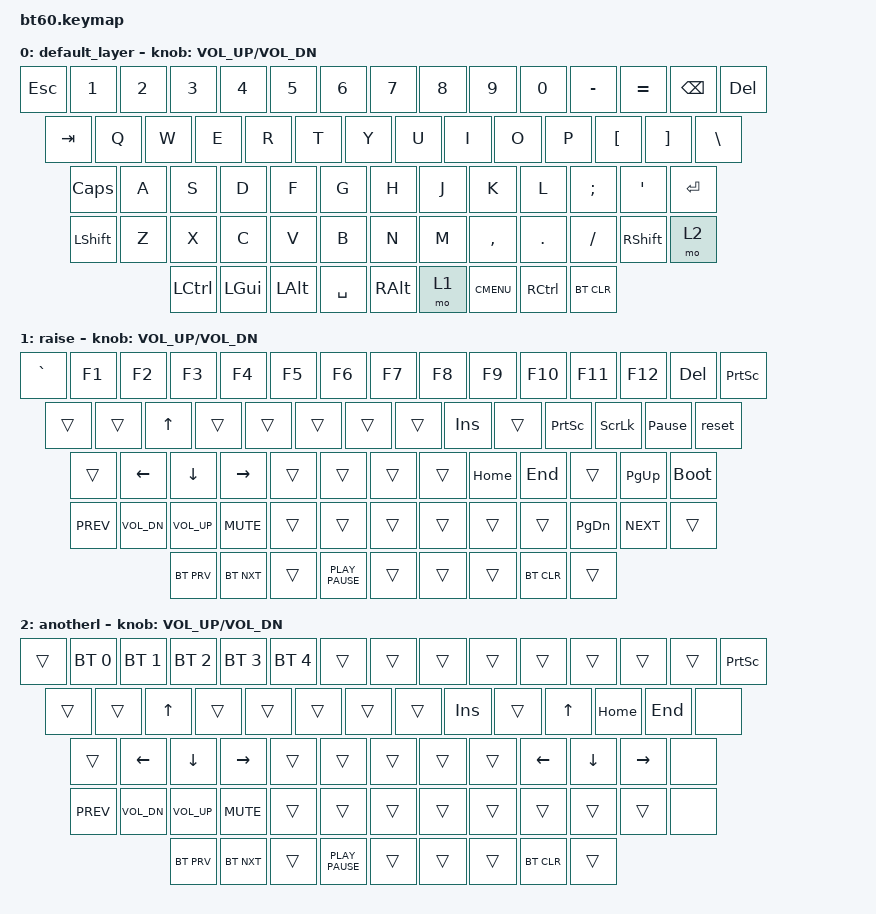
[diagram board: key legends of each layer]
#include <behaviors.dtsi>
#include <dt-bindings/zmk/keys.h>
#include <dt-bindings/zmk/bt.h>

/ {
	keymap {
		compatible = "zmk,keymap";

		default_layer {
				// ------------------------------------------------------------------------------------------
				// | ESC |  1  |  2  |  3  |  4  |  5  |  6  |  7  |  8  |  9  |  0  |  -  |  =  |   BKSP   |  PSCRN  |
				// | TAB  |  Q  |  W  |  E  |  R  |  T  |  Y  |  U  |  I  |  O  |  P  |  [  |  ]  |   |    |
				// | CAPS  |  A  |  S  |  D  |  F  |  G  |  H  |  J  |  K  |  L  |  ;  |  '  |     ENTER    |
				// |  SHIFT    |  Z  |  X  |  C  |  V  |  B  |  N  |  M  |  ,  |  .  | /   |      SHIFT     |   2  |
				// |  CTL  |  WIN  |  ALT  |            SPACE               | ALT | 1    |  MENU    |  CTRL    |
				// ------------------------------------------------------------------------------------------
			bindings = <
				&kp ESC &kp N1 &kp N2 &kp N3 &kp N4 &kp N5 &kp N6 &kp N7 &kp  N8   &kp  N9 &kp  N0  &kp MINUS &kp EQUAL &kp BSPC &kp DEL
				&kp TAB  &kp Q  &kp W  &kp E  &kp R  &kp T  &kp Y  &kp U  &kp  I    &kp  O  &kp  P   &kp LBKT &kp RBKT  &kp BSLH
				&kp CLCK  &kp A  &kp S  &kp D  &kp F  &kp G  &kp H  &kp J  &kp  K    &kp  L  &kp SEMI &kp SQT           &kp RET
				&kp LSHFT  &kp Z  &kp X  &kp C  &kp V  &kp B  &kp N  &kp M  &kp COMMA &kp DOT &kp FSLH             &kp RSHFT &mo 2
				&kp LCTRL &kp LGUI &kp LALT            &kp SPACE                          &kp RALT  &mo 1 &kp K_CMENU &kp RCTRL &bt BT_CLR
			>;
			sensor-bindings = <&inc_dec_kp C_VOL_UP C_VOL_DN>;
		};
		raise {
			bindings = <
				&kp GRAVE &kp F1 &kp F2 &kp F3 &kp F4 &kp F5 &kp F6 &kp F7 &kp  F8   &kp  F9 &kp  F10  &kp F11 &kp F12   &kp DEL &kp PSCRN
				&trans &trans &kp UP &trans &trans &trans &trans &trans &kp INS &trans &kp PSCRN &kp SLCK &kp PAUSE_BREAK &reset
				&trans    &kp LEFT &kp DOWN &kp RIGHT &trans &trans &trans &trans &kp HOME &kp END &trans &kp PG_UP   &bootloader
				&kp C_PREV &kp C_VOL_DN &kp C_VOL_UP &kp C_MUTE &trans &trans &trans &trans &trans &trans &kp PG_DN  &kp C_NEXT &trans
				&bt BT_PRV &bt BT_NXT  &trans              &kp K_PLAY_PAUSE                &trans   &trans   &trans &bt BT_CLR &trans
			>;
			sensor-bindings = <&inc_dec_kp C_VOL_UP C_VOL_DN>;
		};
		anotherl {
			bindings = <
				&trans &bt BT_SEL 0 &bt BT_SEL 1 &bt BT_SEL 2 &bt BT_SEL 3 &bt BT_SEL 4 &trans &trans &trans &trans &trans &trans &trans &trans &kp PSCRN
				&trans &trans &kp UP &trans &trans &trans &trans &trans &kp INS &trans &kp UP &kp HOME &kp END &none
				&trans    &kp LEFT &kp DOWN &kp RIGHT &trans &trans &trans &trans &trans &kp LEFT &kp DOWN &kp RIGHT   &none
				&kp C_PREV &kp C_VOL_DN &kp C_VOL_UP &kp C_MUTE &trans &trans &trans &trans &trans &trans &trans  &trans &none
				&bt BT_PRV &bt BT_NXT  &trans              &kp K_PLAY_PAUSE                &trans   &trans   &trans &bt BT_CLR &trans
			>;
			sensor-bindings = <&inc_dec_kp C_VOL_UP C_VOL_DN>;
		};
	};
};
